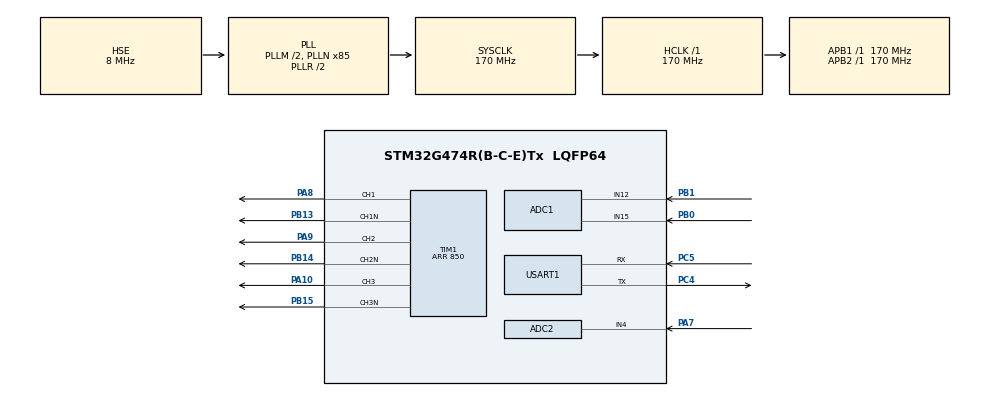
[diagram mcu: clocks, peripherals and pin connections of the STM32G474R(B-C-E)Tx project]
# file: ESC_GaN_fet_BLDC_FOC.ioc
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ADC1.Channel-0\#ChannelRegularConversion=ADC_CHANNEL_15
ADC1.EnableInjectedConversion=ENABLE
ADC1.ExternalTrigConv=ADC_EXTERNALTRIG_T1_TRGO2
ADC1.ExternalTrigInjecConv=ADC_EXTERNALTRIGINJEC_T1_TRGO
ADC1.InjNumberOfConversion=2
ADC1.InjectedChannel-1\#ChannelInjectedConversion=ADC_CHANNEL_12
ADC1.InjectedChannel-2\#ChannelInjectedConversion=ADC_CHANNEL_15
ADC1.InjectedOffsetNumber-1\#ChannelInjectedConversion=ADC_OFFSET_NONE
ADC1.InjectedOffsetNumber-2\#ChannelInjectedConversion=ADC_OFFSET_NONE
ADC1.InjectedRank-1\#ChannelInjectedConversion=1
ADC1.InjectedRank-2\#ChannelInjectedConversion=2
ADC1.InjectedSamplingTime-1\#ChannelInjectedConversion=ADC_SAMPLETIME_6CYCLES_5
ADC1.InjectedSamplingTime-2\#ChannelInjectedConversion=ADC_SAMPLETIME_12CYCLES_5
ADC1.NbrOfConversionFlag=1
ADC1.OffsetNumber-0\#ChannelRegularConversion=ADC_OFFSET_NONE
ADC1.Rank-0\#ChannelRegularConversion=1
ADC1.Rank1_Channel=ADC_CHANNEL_12
ADC1.SamplingTime-0\#ChannelRegularConversion=ADC_SAMPLETIME_12CYCLES_5
ADC1.injectedQueueMode=DISABLE
ADC1.master=1
ADC2.Channel-5\#ChannelRegularConversion=ADC_CHANNEL_4
ADC2.ExternalTrigConv=ADC_EXTERNALTRIG_T1_TRGO
ADC2.NbrOfConversionFlag=1
ADC2.OffsetNumber-5\#ChannelRegularConversion=ADC_OFFSET_NONE
ADC2.Rank-5\#ChannelRegularConversion=1
ADC2.SamplingTime-5\#ChannelRegularConversion=ADC_SAMPLETIME_6CYCLES_5
Mcu.Family=STM32G4
Mcu.Name=STM32G474R(B-C-E)Tx
Mcu.Package=LQFP64
NVIC.ADC1_2_IRQn=true\:0\:0\:false\:false\:true\:true\:true\:true
NVIC.PriorityGroup=NVIC_PRIORITYGROUP_4
PA10.Signal=S_TIM1_CH3
PA13.Mode=Serial_Wire
PA13.Signal=SYS_JTMS-SWDIO
PA14.Mode=Serial_Wire
PA14.Signal=SYS_JTCK-SWCLK
PA7.Mode=IN4-Single-Ended
PA7.Signal=ADC2_IN4
PA8.Signal=S_TIM1_CH1
PA9.Signal=S_TIM1_CH2
PB0.Mode=IN15-Single-Ended
PB0.Signal=ADC1_IN15
PB1.Mode=IN12-Single-Ended
PB1.Signal=ADC1_IN12
PB13.Mode=PWM Generation1 CH1 CH1N
PB13.Signal=TIM1_CH1N
PB14.Mode=PWM Generation2 CH2 CH2N
PB14.Signal=TIM1_CH2N
PB15.Mode=PWM Generation3 CH3 CH3N
PB15.Signal=TIM1_CH3N
PC4.Mode=Asynchronous
PC4.Signal=USART1_TX
PC5.Mode=Asynchronous
PC5.Signal=USART1_RX
PF0-OSC_IN.Mode=HSE-External-Oscillator
PF0-OSC_IN.Signal=RCC_OSC_IN
PF1-OSC_OUT.Mode=HSE-External-Oscillator
PF1-OSC_OUT.Signal=RCC_OSC_OUT
ProjectManager.HeapSize=0x200
ProjectManager.StackSize=0x400
ProjectManager.TargetToolchain=CMake
RCC.ADC12Freq_Value=170000000
RCC.ADC345Freq_Value=170000000
RCC.AHBFreq_Value=170000000
RCC.APB1Freq_Value=170000000
RCC.APB1TimFreq_Value=170000000
RCC.APB2Freq_Value=170000000
RCC.APB2TimFreq_Value=170000000
RCC.CortexFreq_Value=170000000
RCC.EXTERNAL_CLOCK_VALUE=12288000
RCC.HCLKFreq_Value=170000000
RCC.HSE_VALUE=8000000
RCC.HSI48_VALUE=48000000
RCC.HSI_VALUE=16000000
RCC.LSE_VALUE=32768
RCC.PLLM=RCC_PLLM_DIV2
RCC.PLLN=85
RCC.PLLSourceVirtual=RCC_PLLSOURCE_HSE
RCC.SYSCLKFreq_VALUE=170000000
RCC.SYSCLKSource=RCC_SYSCLKSOURCE_PLLCLK
RCC.USBFreq_Value=170000000
RCC.VCOOutputFreq_Value=340000000
SH.S_TIM1_CH1.0=TIM1_CH1,PWM Generation1 CH1 CH1N
SH.S_TIM1_CH2.0=TIM1_CH2,PWM Generation2 CH2 CH2N
SH.S_TIM1_CH3.0=TIM1_CH3,PWM Generation3 CH3 CH3N
TIM1.Channel-PWM\ Generation1\ CH1\ CH1N=TIM_CHANNEL_1
TIM1.Channel-PWM\ Generation2\ CH2\ CH2N=TIM_CHANNEL_2
TIM1.Channel-PWM\ Generation3\ CH3\ CH3N=TIM_CHANNEL_3
TIM1.CounterMode=TIM_COUNTERMODE_CENTERALIGNED1
TIM1.DeadTime=2
TIM1.PeriodNoDither=850
TIM1.RepetitionCounter=1
TIM1.TIM_MasterOutputTrigger=TIM_TRGO_UPDATE
USART1.VirtualMode-Asynchronous=VM_ASYNC
VP_CORDIC_VS_CORDIC.Mode=CORDIC_Activate
VP_SYS_VS_DBSignals.Mode=DisableDeadBatterySignals
VP_TIM1_VS_ClockSourceINT.Mode=Internal
board=custom

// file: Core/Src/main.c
/* USER CODE BEGIN Header */
/**
  ******************************************************************************
  * @file           : main.c
  * @brief          : Main program body
  ******************************************************************************
  * @attention
  *
  * Copyright (c) 2026 STMicroelectronics.
  * All rights reserved.
  *
  * This software is licensed under terms that can be found in the LICENSE file
  * in the root directory of this software component.
  * If no LICENSE file comes with this software, it is provided AS-IS.
  *
  ******************************************************************************
  */
/* USER CODE END Header */
#include "main.h"
#include "adc.h"
#include "cordic.h"
#include "tim.h"
#include "usart.h"
#include "gpio.h"

/* USER CODE BEGIN Includes */
#include "foc_config.h"
#include "FOC_math.h"
#include "foc_sensing.h"
#include "foc_pid.h"
/* USER CODE END Includes */

/* USER CODE BEGIN PV */
#define FOC_BUILD_LEVEL 3
//Các hàm đối tượng dữ liệu của hệ thống FOC
FOC_Sensor_t g_sensor;
FOC_PI_t     g_pi_id;
FOC_PI_t     g_pi_iq;
// Các biến trạng thái theo dõi trực tiếp trên cửa sổ Live Watch khi Debug
volatile float    g_theta_e   = 0.0f;   // Góc điện hiện tại (rad)
volatile float    g_we_open   = 0.0f;   // Tốc độ góc điện vòng hở (rad/s)
volatile float    g_i_alpha   = 0.0f;
volatile float    g_i_beta    = 0.0f;
volatile float    g_id_meas   = 0.0f;
volatile float    g_iq_meas   = 0.0f;
volatile float    g_id_ref    = 0.0f;   // Lệnh dòng trục d (Luôn giữ = 0A)
volatile float    g_iq_ref    = 2.0f;   // Lệnh dòng trục q thử nghiệm ở Build 3 (2.0A)
volatile float    g_vd_cmd    = 0.0f;
volatile float    g_vq_cmd    = 2.0f;   // Điện áp Vq thử nghiệm ở Build 1 & 2 (2.0V)
volatile uint32_t g_ccr_u     = PWM_HALF_PERIOD;
volatile uint32_t g_ccr_v     = PWM_HALF_PERIOD;
volatile uint32_t g_ccr_w     = PWM_HALF_PERIOD;
/* USER CODE END PV */

void SystemClock_Config(void);

int main(void)
{

  /* MCU Configuration--------------------------------------------------------*/

  /* Reset of all peripherals, Initializes the Flash interface and the Systick. */
  HAL_Init();

  /* Configure the system clock */
  SystemClock_Config();

  /* Initialize all configured peripherals */
  MX_GPIO_Init();
  MX_ADC1_Init();
  MX_ADC2_Init();
  MX_TIM1_Init();
  MX_USART1_UART_Init();
  MX_CORDIC_Init();
  /* USER CODE BEGIN 2 */
// 1. Khởi tạo bộ tăng tốc lượng giác phần cứng CORDIC (Mốc 1)
  init_trig_lut();
  // 2. Khởi tạo module Cảm biến & Bảo vệ (Mốc 2)
  FOC_Sensor_Init(&g_sensor);
  // 3. Khởi tạo 2 bộ điều khiển PI dòng điện Id và Iq ở Ts = 10 us (Mốc 3)
  // Thiết kế theo băng thông 1500 Hz (w_cc = 9424.8 rad/s): Kp = Ls*w_cc ~ 2.07, Ki = Rs*w_cc ~ 18.0
  float v_max_init = VBUS_NOMINAL_VOLT  * SVPWM_LIMIT_COEFF; // ~13.3V ở nguồn 24V
  FOC_PI_Init(&g_pi_id, 2.07f, 300.0f, FOC_TS, -v_max_init, v_max_init);
  FOC_PI_Init(&g_pi_iq, 2.07f, 300.0f, FOC_TS, -v_max_init, v_max_init);
  // 4. Đặt sẵn giá trị thanh ghi PWM ở mức trung tính 50% (425) trước khi bật cầu GaN
  TIM1->CCR1 = PWM_HALF_PERIOD;
  TIM1->CCR2 = PWM_HALF_PERIOD;
  TIM1->CCR3 = PWM_HALF_PERIOD;
  /* USER CODE END 2 */

  /* Infinite loop */
  while (1)
  {

  }
}

void SystemClock_Config(void)
{
  RCC_OscInitTypeDef RCC_OscInitStruct = {0};
  RCC_ClkInitTypeDef RCC_ClkInitStruct = {0};

  /** Configure the main internal regulator output voltage
  */
  HAL_PWREx_ControlVoltageScaling(PWR_REGULATOR_VOLTAGE_SCALE1_BOOST);

  /** Initializes the RCC Oscillators according to the specified parameters
  * in the RCC_OscInitTypeDef structure.
  */
  RCC_OscInitStruct.OscillatorType = RCC_OSCILLATORTYPE_HSE;
  RCC_OscInitStruct.HSEState = RCC_HSE_ON;
  RCC_OscInitStruct.PLL.PLLState = RCC_PLL_ON;
  RCC_OscInitStruct.PLL.PLLSource = RCC_PLLSOURCE_HSE;
  RCC_OscInitStruct.PLL.PLLM = RCC_PLLM_DIV2;
  RCC_OscInitStruct.PLL.PLLN = 85;
  RCC_OscInitStruct.PLL.PLLP = RCC_PLLP_DIV2;
  RCC_OscInitStruct.PLL.PLLQ = RCC_PLLQ_DIV2;
  RCC_OscInitStruct.PLL.PLLR = RCC_PLLR_DIV2;
  if (HAL_RCC_OscConfig(&RCC_OscInitStruct) != HAL_OK)
  {
    Error_Handler();
  }

  /** Initializes the CPU, AHB and APB buses clocks
  */
  RCC_ClkInitStruct.ClockType = RCC_CLOCKTYPE_HCLK|RCC_CLOCKTYPE_SYSCLK
                              |RCC_CLOCKTYPE_PCLK1|RCC_CLOCKTYPE_PCLK2;
  RCC_ClkInitStruct.SYSCLKSource = RCC_SYSCLKSOURCE_PLLCLK;
  RCC_ClkInitStruct.AHBCLKDivider = RCC_SYSCLK_DIV1;
  RCC_ClkInitStruct.APB1CLKDivider = RCC_HCLK_DIV1;
  RCC_ClkInitStruct.APB2CLKDivider = RCC_HCLK_DIV1;

  if (HAL_RCC_ClockConfig(&RCC_ClkInitStruct, FLASH_LATENCY_4) != HAL_OK)
  {
    Error_Handler();
  }
}

/* USER CODE BEGIN 4 */
void FOC_Run_100kHz_ISR(uint16_t raw_ia, uint16_t raw_ib, uint16_t raw_vbus)
{
    // TẦNG 1 (MỐC 2): ĐỌC CẢM BIẾN, HIỆU CHUẨN OFFSET & KIỂM TRA BẢO VỆ
    FOC_Sensor_Update_100kHz(&g_sensor, raw_ia, raw_ib, raw_vbus);

    // Nếu phát hiện bất kỳ lỗi nào (OCP, OVP, UVLO, Lỗi phần cứng INA240):
    // Khóa cứng ngõ ra Main Output Enable (MOE) của TIM1 ngay lập tức!
    if (FOC_Sensor_HasFault(&g_sensor)) {
        TIM1->BDTR &= ~TIM_BDTR_MOE;
        TIM1->CCR1  = PWM_HALF_PERIOD;
        TIM1->CCR2  = PWM_HALF_PERIOD;
        TIM1->CCR3  = PWM_HALF_PERIOD;
        FOC_PI_Reset(&g_pi_id);
        FOC_PI_Reset(&g_pi_iq);
        return;
    }

    // Trong 20 ms đầu tiên (2000 mẫu): Khi đang đo điểm 0 (Offset) của INA240,
    // giữ cứng cả 3 pha ở mức 50% Duty Cycle (Điện áp dây = 0V, dòng = 0A)
    if (!g_sensor.is_calibrated) {
        TIM1->CCR1 = PWM_HALF_PERIOD;
        TIM1->CCR2 = PWM_HALF_PERIOD;
        TIM1->CCR3 = PWM_HALF_PERIOD;
        return;
    }
    // TẦNG 2 (MỐC 1): TẠO GÓC QUAY & BIẾN ĐỔI CLARKE -> PARK
    // Tăng tốc mềm (Ramp) tần số góc điện vòng hở lên 200 rad/s để test Build 1, 2, 3
    if (g_we_open < 200.0f) {
        g_we_open += 200.0f * FOC_TS; // Tăng tốc mất 1 giây
    }
    g_theta_e += g_we_open * FOC_TS;
    normalize_angle((float *)&g_theta_e);

    float sin_t, cos_t;
    fast_sincos(g_theta_e, &sin_t, &cos_t);

#if (FOC_BUILD_LEVEL >= 2)
    // Từ Build 2 trở đi: Thực hiện biến đổi Clarke và Park trên dòng điện thực tế
    float i_alpha, i_beta, id, iq;
    clarke_transform(g_sensor.ia, g_sensor.ib, &i_alpha, &i_beta);
    park_transform(i_alpha, i_beta, sin_t, cos_t, &id, &iq);

    g_i_alpha = i_alpha;
    g_i_beta  = i_beta;
    g_id_meas = id;
    g_iq_meas = iq;
#endif
    // TẦNG 3 (MỐC 3): BỘ ĐIỀU KHIỂN PI DÒNG ĐIỆN TRỤC D - Q
    float vd_out, vq_out;
#if (FOC_BUILD_LEVEL >= 3)
    // Ở Build 3: Cập nhật trần điện áp động theo Vbus thực tế (0.96 / sqrt(3) * Vbus)
    float v_limit = g_sensor.vbus * SVPWM_LIMIT_COEFF;
    FOC_PI_SetOutputLimits(&g_pi_id, -v_limit, v_limit);
    FOC_PI_SetOutputLimits(&g_pi_iq, -v_limit, v_limit);

    // Đóng vòng kín điều khiển dòng điện Id, Iq bằng bộ PI Anti-Windup
    vd_out   = FOC_PI_Update(&g_pi_id, g_id_ref, g_id_meas);
    vq_out   = FOC_PI_Update(&g_pi_iq, g_iq_ref, g_iq_meas);
    g_vd_cmd = vd_out;
    g_vq_cmd = vq_out;
#else
    // Ở Build 1 & Build 2: Dùng điện áp đặt vòng hở nhỏ (Vd = 0V, Vq = 2.0V)
    vd_out = g_vd_cmd;
    vq_out = g_vq_cmd;
#endif
    // TẦNG 4 (MỐC 1): INVERSE PARK & PHÁT XUNG SVPWM RA THANH GHI TIM1
    float v_alpha, v_beta;
    uint32_t u, v, w;
    inverse_park_transform(vd_out, vq_out, sin_t, cos_t, &v_alpha, &v_beta);
    svpwm(v_alpha, v_beta, g_sensor.vbus,1/g_sensor.vbus  , PWM_PERIOD_CYCLES, &u, &v, &w);
    // Ghi trực tiếp vào thanh ghi phần cứng của Timer 1
    TIM1->CCR1 = u;
    TIM1->CCR2 = v;
    TIM1->CCR3 = w;
    g_ccr_u = u;
    g_ccr_v = v;
    g_ccr_w = w;
}
/* USER CODE END 4 */

void Error_Handler(void)
{
  __disable_irq();
  while (1)
  {
  }
}
